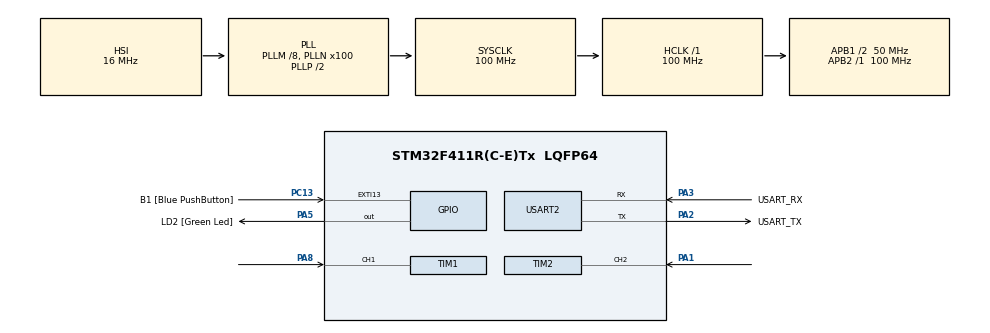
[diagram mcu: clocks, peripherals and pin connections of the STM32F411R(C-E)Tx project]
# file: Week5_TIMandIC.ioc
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Mcu.Family=STM32F4
VP_TIM5_VS_ClockSourceINT.Mode=Internal
RCC.CortexFreq_Value=100000000
TIM1.RepetitionCounter=0
PA14.GPIO_Label=TCK
Dma.TIM1_CH1.0.MemDataAlignment=DMA_MDATAALIGN_HALFWORD
RCC.SYSCLKSource=RCC_SYSCLKSOURCE_PLLCLK
ProjectManager.StackSize=0x400
Dma.TIM1_CH1.0.MemInc=DMA_MINC_ENABLE
Dma.TIM2_CH2/CH4.1.Direction=DMA_PERIPH_TO_MEMORY
TIM1.Prescaler=99
PH0\ -\ OSC_IN.Signal=RCC_OSC_IN
NVIC.TIM5_IRQn=true\:0\:0\:false\:false\:true\:true\:true
RCC.HCLKFreq_Value=100000000
RCC.APB2TimFreq_Value=100000000
Dma.TIM2_CH2/CH4.1.PeriphInc=DMA_PINC_DISABLE
RCC.AHBFreq_Value=100000000
NVIC.TIM1_TRG_COM_TIM11_IRQn=true\:0\:0\:false\:false\:true\:true\:true
RCC.HSE_VALUE=8000000
PC13-ANTI_TAMP.Signal=GPXTI13
PC14-OSC32_IN.Mode=LSE-External-Oscillator
PA14.Mode=Serial_Wire
NVIC.TIM2_IRQn=true\:0\:0\:false\:false\:true\:true\:true
PA8.Signal=S_TIM1_CH1
VP_TIM1_VS_ClockSourceINT.Mode=Internal
RCC.FLatency-AdvancedSettings=FLASH_LATENCY_3
Mcu.Package=LQFP64
TIM2.Prescaler=99
Dma.TIM2_CH2/CH4.1.MemInc=DMA_MINC_ENABLE
Dma.TIM2_CH2/CH4.1.FIFOMode=DMA_FIFOMODE_DISABLE
USART2.VirtualMode=VM_ASYNC
TIM2.Channel-Input_Capture2_from_TI2=TIM_CHANNEL_2
PA2.GPIO_Label=USART_TX
Dma.TIM2_CH2/CH4.1.Instance=DMA1_Stream6
Dma.Request1=TIM2_CH2/CH4
RCC.APB1TimFreq_Value=100000000
NVIC.DMA1_Stream6_IRQn=true\:0\:0\:false\:false\:true\:false\:true
Dma.Request0=TIM1_CH1
TIM1.ICFilter_CH1=2
PA3.Signal=USART2_RX
PB3.GPIO_Label=SWO
PC15-OSC32_OUT.Mode=LSE-External-Oscillator
PC13-ANTI_TAMP.GPIO_Label=B1 [Blue PushButton]
PH1\ -\ OSC_OUT.Mode=HSE-External-Clock-Source
Dma.TIM1_CH1.0.FIFOMode=DMA_FIFOMODE_DISABLE
TIM11.Prescaler=99
Dma.TIM2_CH2/CH4.1.PeriphDataAlignment=DMA_PDATAALIGN_WORD
NVIC.DMA2_Stream1_IRQn=true\:0\:0\:false\:false\:true\:false\:true
RCC.APB1CLKDivider=RCC_HCLK_DIV2
PC14-OSC32_IN.Signal=RCC_OSC32_IN
Dma.TIM2_CH2/CH4.1.MemDataAlignment=DMA_MDATAALIGN_WORD
Dma.TIM1_CH1.0.PeriphDataAlignment=DMA_PDATAALIGN_HALFWORD
Dma.TIM1_CH1.0.Priority=DMA_PRIORITY_LOW
VP_TIM11_VS_ClockSourceINT.Mode=Enable_Timer
Dma.TIM2_CH2/CH4.1.Priority=DMA_PRIORITY_LOW
Dma.TIM1_CH1.0.PeriphInc=DMA_PINC_DISABLE
PA13.Signal=SYS_JTMS-SWDIO
PA3.Mode=Asynchronous
SH.S_TIM2_CH2.0=TIM2_CH2,Input_Capture2_from_TI2
PH0\ -\ OSC_IN.Mode=HSE-External-Clock-Source
Dma.TIM1_CH1.0.Mode=DMA_CIRCULAR
SH.S_TIM1_CH1.0=TIM1_CH1,Input_Capture1_from_TI1
ProjectManager.TargetToolchain=STM32CubeIDE
TIM2.ICFilter_CH2=2
PC15-OSC32_OUT.Signal=RCC_OSC32_OUT
PA1.Signal=S_TIM2_CH2
PA5.Signal=GPIO_Output
PH1\ -\ OSC_OUT.Signal=RCC_OSC_OUT
board=NUCLEO-F411RE
RCC.VCOOutputFreq_Value=200000000
RCC.APB2Freq_Value=100000000
VP_TIM2_VS_ClockSourceINT.Mode=Internal
PA13.Mode=Serial_Wire
Dma.TIM2_CH2/CH4.1.Mode=DMA_CIRCULAR
Mcu.Name=STM32F411R(C-E)Tx
PA13.GPIO_Label=TMS
PA2.Signal=USART2_TX
Dma.TIM1_CH1.0.Direction=DMA_PERIPH_TO_MEMORY
RCC.48MHZClocksFreq_Value=50000000
PB3.Signal=SYS_JTDO-SWO
RCC.SYSCLKFreq_VALUE=100000000
Dma.TIM1_CH1.0.Instance=DMA2_Stream1
PA5.GPIO_Label=LD2 [Green Led]
TIM5.Prescaler=99
TIM1.Channel-Input_Capture1_from_TI1=TIM_CHANNEL_1
PC13-ANTI_TAMP.GPIO_ModeDefaultEXTI=GPIO_MODE_IT_FALLING
PA14.Signal=SYS_JTCK-SWCLK
ProjectManager.HeapSize=0x200
RCC.HSI_VALUE=16000000
NVIC.PriorityGroup=NVIC_PRIORITYGROUP_0
RCC.PLLM=8
RCC.PLLN=100
PA2.Mode=Asynchronous
TIM5.Period=65535
RCC.APB1Freq_Value=50000000
PA3.GPIO_Label=USART_RX

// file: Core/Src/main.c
/* USER CODE BEGIN Header */
/**
 ******************************************************************************
 * @file           : main.c
 * @brief          : Main program body
 ******************************************************************************
 * @attention
 *
 * <h2><center>&copy; Copyright (c) 2021 STMicroelectronics.
 * All rights reserved.</center></h2>
 *
 * This software component is licensed by ST under BSD 3-Clause license,
 * the "License"; You may not use this file except in compliance with the
 * License. You may obtain a copy of the License at:
 *                        opensource.org/licenses/BSD-3-Clause
 *
 ******************************************************************************
 */
/* USER CODE END Header */
#include "main.h"

/* USER CODE BEGIN PD */
#define CAPTURENUM 32
/* USER CODE END PD */

TIM_HandleTypeDef htim1;
TIM_HandleTypeDef htim2;
TIM_HandleTypeDef htim5;
TIM_HandleTypeDef htim11;
DMA_HandleTypeDef hdma_tim1_ch1;
DMA_HandleTypeDef hdma_tim2_ch2_ch4;

UART_HandleTypeDef huart2;

/* USER CODE BEGIN PV */

//DMA Buffer
uint32_t capturedata[CAPTURENUM] = { 0 };
//diff time of capture data
int32_t DiffTime[CAPTURENUM - 1] = { 0 };
//Mean difftime
float MeanTime = 0;
float Speed = 0;

//for microsecond measurement
uint64_t _micros = 0;
/* USER CODE END PV */

void SystemClock_Config(void);
static void MX_GPIO_Init(void);
static void MX_DMA_Init(void);
static void MX_USART2_UART_Init(void);
static void MX_TIM1_Init(void);
static void MX_TIM11_Init(void);
static void MX_TIM2_Init(void);
static void MX_TIM5_Init(void);
/* USER CODE BEGIN PFP */
//Read speed of encoder
void encoderSpeedReaderCycle();
uint64_t micros();
/* USER CODE END PFP */

int main(void)
{

  /* MCU Configuration--------------------------------------------------------*/

  /* Reset of all peripherals, Initializes the Flash interface and the Systick. */
  HAL_Init();

  /* Configure the system clock */
  SystemClock_Config();

  /* Initialize all configured peripherals */
  MX_GPIO_Init();
  MX_DMA_Init();
  MX_USART2_UART_Init();
  MX_TIM1_Init();
  MX_TIM11_Init();
  MX_TIM2_Init();
  MX_TIM5_Init();
  /* USER CODE BEGIN 2 */
	//start Microsec timer
	HAL_TIM_Base_Start_IT(&htim11);
	HAL_TIM_Base_Start_IT(&htim5);
	//start Input capture in DMA
	HAL_TIM_Base_Start_IT(&htim1);
	HAL_TIM_Base_Start_IT(&htim2);

//  	HAL_TIM_IC_Start_DMA(&htim1, TIM_CHANNEL_1, (uint32_t*) &capturedata,CAPTURENUM);
	HAL_TIM_IC_Start_DMA(&htim2, TIM_CHANNEL_2, capturedata, CAPTURENUM);
	uint64_t timestamp = 0;
  /* USER CODE END 2 */

  /* Infinite loop */
  /* USER CODE BEGIN WHILE */
	while (1) {
		//read Time of encoder
		encoderSpeedReaderCycle();

		//12 P/R , Gear reduction 1 : 64

		//  12 pules/1rev * 64
		// MeanTime(uS)/1 pulse

		if (micros() - timestamp > 100000) //uS   //5Hz
				{
			timestamp = micros();
			HAL_GPIO_TogglePin(LD2_GPIO_Port, LD2_Pin);
		}

    /* USER CODE END WHILE */

	}
}

void SystemClock_Config(void)
{
  RCC_OscInitTypeDef RCC_OscInitStruct = {0};
  RCC_ClkInitTypeDef RCC_ClkInitStruct = {0};

  /** Configure the main internal regulator output voltage
  */
  __HAL_RCC_PWR_CLK_ENABLE();
  __HAL_PWR_VOLTAGESCALING_CONFIG(PWR_REGULATOR_VOLTAGE_SCALE1);
  /** Initializes the RCC Oscillators according to the specified parameters
  * in the RCC_OscInitTypeDef structure.
  */
  RCC_OscInitStruct.OscillatorType = RCC_OSCILLATORTYPE_HSI;
  RCC_OscInitStruct.HSIState = RCC_HSI_ON;
  RCC_OscInitStruct.HSICalibrationValue = RCC_HSICALIBRATION_DEFAULT;
  RCC_OscInitStruct.PLL.PLLState = RCC_PLL_ON;
  RCC_OscInitStruct.PLL.PLLSource = RCC_PLLSOURCE_HSI;
  RCC_OscInitStruct.PLL.PLLM = 8;
  RCC_OscInitStruct.PLL.PLLN = 100;
  RCC_OscInitStruct.PLL.PLLP = RCC_PLLP_DIV2;
  RCC_OscInitStruct.PLL.PLLQ = 4;
  if (HAL_RCC_OscConfig(&RCC_OscInitStruct) != HAL_OK)
  {
    Error_Handler();
  }
  /** Initializes the CPU, AHB and APB buses clocks
  */
  RCC_ClkInitStruct.ClockType = RCC_CLOCKTYPE_HCLK|RCC_CLOCKTYPE_SYSCLK
                              |RCC_CLOCKTYPE_PCLK1|RCC_CLOCKTYPE_PCLK2;
  RCC_ClkInitStruct.SYSCLKSource = RCC_SYSCLKSOURCE_PLLCLK;
  RCC_ClkInitStruct.AHBCLKDivider = RCC_SYSCLK_DIV1;
  RCC_ClkInitStruct.APB1CLKDivider = RCC_HCLK_DIV2;
  RCC_ClkInitStruct.APB2CLKDivider = RCC_HCLK_DIV1;

  if (HAL_RCC_ClockConfig(&RCC_ClkInitStruct, FLASH_LATENCY_3) != HAL_OK)
  {
    Error_Handler();
  }
}

static void MX_TIM1_Init(void)
{

  TIM_ClockConfigTypeDef sClockSourceConfig = {0};
  TIM_MasterConfigTypeDef sMasterConfig = {0};
  TIM_IC_InitTypeDef sConfigIC = {0};

  htim1.Instance = TIM1;
  htim1.Init.Prescaler = 99;
  htim1.Init.CounterMode = TIM_COUNTERMODE_UP;
  htim1.Init.Period = 65535;
  htim1.Init.ClockDivision = TIM_CLOCKDIVISION_DIV1;
  htim1.Init.RepetitionCounter = 0;
  htim1.Init.AutoReloadPreload = TIM_AUTORELOAD_PRELOAD_DISABLE;
  if (HAL_TIM_Base_Init(&htim1) != HAL_OK)
  {
    Error_Handler();
  }
  sClockSourceConfig.ClockSource = TIM_CLOCKSOURCE_INTERNAL;
  if (HAL_TIM_ConfigClockSource(&htim1, &sClockSourceConfig) != HAL_OK)
  {
    Error_Handler();
  }
  if (HAL_TIM_IC_Init(&htim1) != HAL_OK)
  {
    Error_Handler();
  }
  sMasterConfig.MasterOutputTrigger = TIM_TRGO_RESET;
  sMasterConfig.MasterSlaveMode = TIM_MASTERSLAVEMODE_DISABLE;
  if (HAL_TIMEx_MasterConfigSynchronization(&htim1, &sMasterConfig) != HAL_OK)
  {
    Error_Handler();
  }
  sConfigIC.ICPolarity = TIM_INPUTCHANNELPOLARITY_RISING;
  sConfigIC.ICSelection = TIM_ICSELECTION_DIRECTTI;
  sConfigIC.ICPrescaler = TIM_ICPSC_DIV1;
  sConfigIC.ICFilter = 2;
  if (HAL_TIM_IC_ConfigChannel(&htim1, &sConfigIC, TIM_CHANNEL_1) != HAL_OK)
  {
    Error_Handler();
  }

}

static void MX_TIM2_Init(void)
{

  TIM_ClockConfigTypeDef sClockSourceConfig = {0};
  TIM_MasterConfigTypeDef sMasterConfig = {0};
  TIM_IC_InitTypeDef sConfigIC = {0};

  htim2.Instance = TIM2;
  htim2.Init.Prescaler = 99;
  htim2.Init.CounterMode = TIM_COUNTERMODE_UP;
  htim2.Init.Period = 4294967295;
  htim2.Init.ClockDivision = TIM_CLOCKDIVISION_DIV1;
  htim2.Init.AutoReloadPreload = TIM_AUTORELOAD_PRELOAD_DISABLE;
  if (HAL_TIM_Base_Init(&htim2) != HAL_OK)
  {
    Error_Handler();
  }
  sClockSourceConfig.ClockSource = TIM_CLOCKSOURCE_INTERNAL;
  if (HAL_TIM_ConfigClockSource(&htim2, &sClockSourceConfig) != HAL_OK)
  {
    Error_Handler();
  }
  if (HAL_TIM_IC_Init(&htim2) != HAL_OK)
  {
    Error_Handler();
  }
  sMasterConfig.MasterOutputTrigger = TIM_TRGO_RESET;
  sMasterConfig.MasterSlaveMode = TIM_MASTERSLAVEMODE_DISABLE;
  if (HAL_TIMEx_MasterConfigSynchronization(&htim2, &sMasterConfig) != HAL_OK)
  {
    Error_Handler();
  }
  sConfigIC.ICPolarity = TIM_INPUTCHANNELPOLARITY_RISING;
  sConfigIC.ICSelection = TIM_ICSELECTION_DIRECTTI;
  sConfigIC.ICPrescaler = TIM_ICPSC_DIV1;
  sConfigIC.ICFilter = 2;
  if (HAL_TIM_IC_ConfigChannel(&htim2, &sConfigIC, TIM_CHANNEL_2) != HAL_OK)
  {
    Error_Handler();
  }

}

static void MX_TIM5_Init(void)
{

  TIM_ClockConfigTypeDef sClockSourceConfig = {0};
  TIM_MasterConfigTypeDef sMasterConfig = {0};

  htim5.Instance = TIM5;
  htim5.Init.Prescaler = 99;
  htim5.Init.CounterMode = TIM_COUNTERMODE_UP;
  htim5.Init.Period = 65535;
  htim5.Init.ClockDivision = TIM_CLOCKDIVISION_DIV1;
  htim5.Init.AutoReloadPreload = TIM_AUTORELOAD_PRELOAD_DISABLE;
  if (HAL_TIM_Base_Init(&htim5) != HAL_OK)
  {
    Error_Handler();
  }
  sClockSourceConfig.ClockSource = TIM_CLOCKSOURCE_INTERNAL;
  if (HAL_TIM_ConfigClockSource(&htim5, &sClockSourceConfig) != HAL_OK)
  {
    Error_Handler();
  }
  sMasterConfig.MasterOutputTrigger = TIM_TRGO_RESET;
  sMasterConfig.MasterSlaveMode = TIM_MASTERSLAVEMODE_DISABLE;
  if (HAL_TIMEx_MasterConfigSynchronization(&htim5, &sMasterConfig) != HAL_OK)
  {
    Error_Handler();
  }

}

static void MX_TIM11_Init(void)
{

  htim11.Instance = TIM11;
  htim11.Init.Prescaler = 99;
  htim11.Init.CounterMode = TIM_COUNTERMODE_UP;
  htim11.Init.Period = 65535;
  htim11.Init.ClockDivision = TIM_CLOCKDIVISION_DIV1;
  htim11.Init.AutoReloadPreload = TIM_AUTORELOAD_PRELOAD_DISABLE;
  if (HAL_TIM_Base_Init(&htim11) != HAL_OK)
  {
    Error_Handler();
  }

}

static void MX_USART2_UART_Init(void)
{

  huart2.Instance = USART2;
  huart2.Init.BaudRate = 115200;
  huart2.Init.WordLength = UART_WORDLENGTH_8B;
  huart2.Init.StopBits = UART_STOPBITS_1;
  huart2.Init.Parity = UART_PARITY_NONE;
  huart2.Init.Mode = UART_MODE_TX_RX;
  huart2.Init.HwFlowCtl = UART_HWCONTROL_NONE;
  huart2.Init.OverSampling = UART_OVERSAMPLING_16;
  if (HAL_UART_Init(&huart2) != HAL_OK)
  {
    Error_Handler();
  }

}

static void MX_DMA_Init(void)
{

  /* DMA controller clock enable */
  __HAL_RCC_DMA2_CLK_ENABLE();
  __HAL_RCC_DMA1_CLK_ENABLE();

  /* DMA interrupt init */
  /* DMA1_Stream6_IRQn interrupt configuration */
  HAL_NVIC_SetPriority(DMA1_Stream6_IRQn, 0, 0);
  HAL_NVIC_EnableIRQ(DMA1_Stream6_IRQn);
  /* DMA2_Stream1_IRQn interrupt configuration */
  HAL_NVIC_SetPriority(DMA2_Stream1_IRQn, 0, 0);
  HAL_NVIC_EnableIRQ(DMA2_Stream1_IRQn);

}

static void MX_GPIO_Init(void)
{
  GPIO_InitTypeDef GPIO_InitStruct = {0};

  /* GPIO Ports Clock Enable */
  __HAL_RCC_GPIOC_CLK_ENABLE();
  __HAL_RCC_GPIOH_CLK_ENABLE();
  __HAL_RCC_GPIOA_CLK_ENABLE();
  __HAL_RCC_GPIOB_CLK_ENABLE();

  /*Configure GPIO pin Output Level */
  HAL_GPIO_WritePin(LD2_GPIO_Port, LD2_Pin, GPIO_PIN_RESET);

  /*Configure GPIO pin : B1_Pin */
  GPIO_InitStruct.Pin = B1_Pin;
  GPIO_InitStruct.Mode = GPIO_MODE_IT_FALLING;
  GPIO_InitStruct.Pull = GPIO_NOPULL;
  HAL_GPIO_Init(B1_GPIO_Port, &GPIO_InitStruct);

  /*Configure GPIO pin : LD2_Pin */
  GPIO_InitStruct.Pin = LD2_Pin;
  GPIO_InitStruct.Mode = GPIO_MODE_OUTPUT_PP;
  GPIO_InitStruct.Pull = GPIO_NOPULL;
  GPIO_InitStruct.Speed = GPIO_SPEED_FREQ_LOW;
  HAL_GPIO_Init(LD2_GPIO_Port, &GPIO_InitStruct);

}

/* USER CODE BEGIN 4 */
void encoderSpeedReaderCycle() {
	//get DMA Position form number of data
	uint32_t CapPos = CAPTURENUM
			- __HAL_DMA_GET_COUNTER(htim2.hdma[TIM_DMA_ID_CC2]);
	uint32_t sum = 0;

	//calculate diff from all buffer
	for (register int i = 0; i < CAPTURENUM - 1; i++) {
		DiffTime[i] = capturedata[(CapPos + 1 + i) % CAPTURENUM]
				- capturedata[(CapPos + i) % CAPTURENUM];
		//time never go back, but timer can over flow , conpensate that
		if (DiffTime[i] < 0) {
			DiffTime[i] += 4294967295;
		}
		//Sum all 15 DiffTime
		sum += DiffTime[i];
	}

	//mean all 15 Diff
	MeanTime = sum / (float) (CAPTURENUM - 1);    // 1 puls
	Speed = (60*1000000)/(64*12*MeanTime) ;  //rpm
}

uint64_t micros() {
	return _micros + htim5.Instance->CNT;
}

//interupt
void HAL_TIM_PeriodElapsedCallback(TIM_HandleTypeDef *htim) {
	if (htim == &htim5) {
		_micros += 65535;
	}
}
/* USER CODE END 4 */

void Error_Handler(void)
{
	__disable_irq();
	while (1) {
	}
}

/************************ (C) COPYRIGHT STMicroelectronics *****END OF FILE****/
